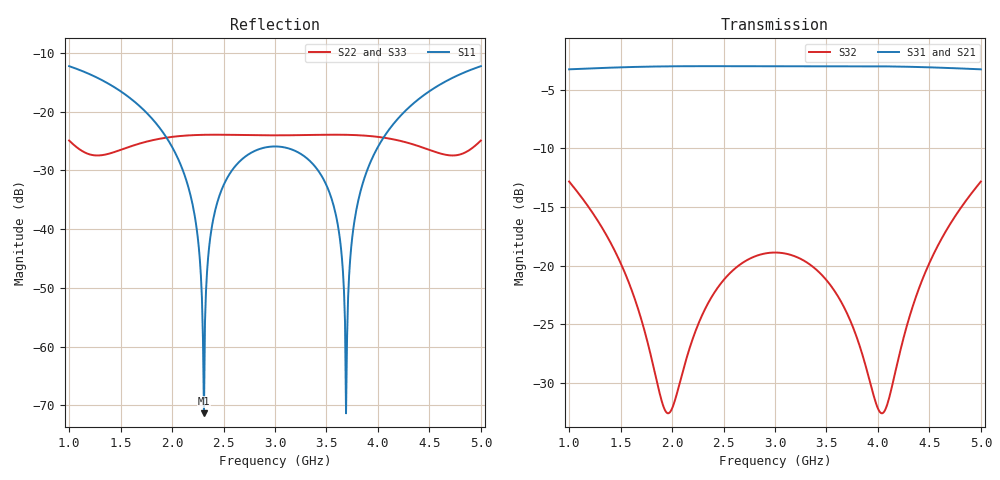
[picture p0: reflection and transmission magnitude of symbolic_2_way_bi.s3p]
! AWR Design Environment (19377) Fri Dec 26 15:43:53 2025
! Document = 'symbolic_2_way_bi'
! nPorts: 3, nXvals: 401
# GHz S DB R 50
!Freq DBS11 AngS11 DBS12 AngS12 DBS13 AngS13
!	DBS21 AngS21 DBS22 AngS22 DBS23 AngS23
!	DBS31 AngS31 DBS32 AngS32 DBS33 AngS33
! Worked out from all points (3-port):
!   401 points, 1 GHz to 5 GHz, reference 50 ohm
!   strongest paths, dB at 1 GHz, 2 GHz, 3 GHz, 4 GHz, 5 GHz:
!     S31: -3.3, -3.0, -3.0, -3.0, -3.3
!     S21: -3.3, -3.0, -3.0, -3.0, -3.3
!     S32: -12.8, -32.2, -18.9, -32.2, -12.8
!   lowest |S11| = -71.4 dB at 2.31 GHz (marker M1), VSWR 1.00, Z = 50 + j0.0248 ohm
!   |S11| at or under -10 dB: start of sweep to end of sweep
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1  -12.22 61.9  -3.28 -118.1  -3.28 -118.1
   -3.28 -118.1  -24.89 -51.5  -12.84 -131.3
   -3.28 -118.1  -12.84 -131.3  -24.89 -51.5
2.03  -26.97 -62.9  -3.02 117.3  -3.02 117.3
      -3.02 117.3  -24.21 94.5  -31.41 -126.3
      -3.02 117.3  -31.41 -126.3  -24.21 94.5
2.22  -37.71 -86.4  -3.01 94.3  -3.01 94.3
      -3.01 94.3  -23.97 72.6  -25.76 -112.9
      -3.01 94.3  -25.76 -112.9  -23.97 72.6
2.31  -71.37 113.0  -3.01 83.4  -3.01 83.4
      -3.01 83.4  -23.92 63.0  -23.88 -117.0
      -3.01 83.4  -23.88 -117.0  -23.92 63.0
2.48  -33.35 63.1  -3.01 62.8  -3.01 62.8
      -3.01 62.8  -23.91 46.1  -21.45 -129.8
      -3.01 62.8  -21.45 -129.8  -23.91 46.1
3  -25.90 -0.0  -3.02 -0.0  -3.02 -0.0
   -3.02 -0.0  -24.01 -0.0  -18.88 -180.0
   -3.02 -0.0  -18.88 -180.0  -24.01 -0.0
3.52  -33.35 -63.1  -3.01 -62.8  -3.01 -62.8
      -3.01 -62.8  -23.91 -46.1  -21.45 129.8
      -3.01 -62.8  -21.45 129.8  -23.91 -46.1
3.69  -71.37 -113.0  -3.01 -83.4  -3.01 -83.4
      -3.01 -83.4  -23.92 -63.0  -23.88 117.0
      -3.01 -83.4  -23.88 117.0  -23.92 -63.0
3.97  -26.97 62.9  -3.02 -117.3  -3.02 -117.3
      -3.02 -117.3  -24.21 -94.5  -31.41 126.3
      -3.02 -117.3  -31.41 126.3  -24.21 -94.5
5  -12.22 -61.9  -3.28 118.1  -3.28 118.1
   -3.28 118.1  -24.89 51.5  -12.84 131.3
   -3.28 118.1  -12.84 131.3  -24.89 51.5
